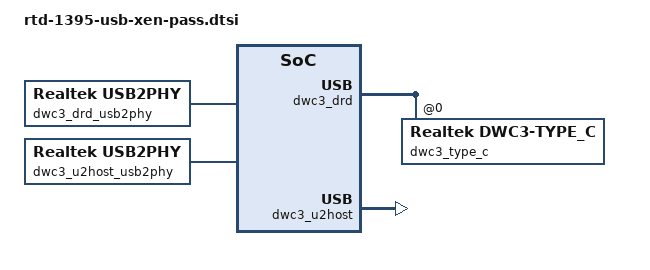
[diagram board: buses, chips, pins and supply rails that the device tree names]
/*
 * realtek,type_c-power-gpio: TypeC power, output, default low
 * realtek,u2host-power-gpio: ehci and u2host power, output, default low
 * realtek,u3host-power-gpio: 1296 u3host power, output, default low
 *
 * usb_iso_mode: ISO mode is only port suspend (Default disable)
 * usb_power_cut: Non ISO mode and power cut (Default disable power cut)
 * Note if enable ISO mode, then power_cut will not effective
 */
/ {
	/include/ "rtd-139x-usb.dtsi"
	rtk_usb_power_manager@0 {
		compatible = "Realtek,usb-manager";
		xen,passthrough;

		power_ctrl_reg {
			xen,passthrough;
		};
	};

	dwc3_drd_usb2phy: dwc3_drd_usb2phy@0 {
		compatible = "Realtek,usb2phy";
		xen,passthrough;

		phy0 {
			xen,passthrough;
		};
	};

	dwc3_drd: rtk_dwc3_drd@98013200 {
		compatible = "Realtek,dwc3";
		xen,passthrough;

		dwc3_drd@98020000 {
			compatible = "synopsys,dwc3";
			xen,passthrough;
		};

		dwc3_type_c: rtk_dwc3_drd_type_c@0 {
			compatible = "Realtek,dwc3-type_c";
			xen,passthrough;
		};
	};

	dwc3_u2host_usb2phy: dwc3_u2host_usb2phy@0 {
		compatible = "Realtek,usb2phy";
		xen,passthrough;

		phy0 {
			xen,passthrough;
		};

		phy1 {
			xen,passthrough;
		};
	};

	dwc3_u2host: rtk_dwc3_u2host@98013E00 {
		compatible = "Realtek,dwc3";
		xen,passthrough;

		dwc3_u2host@98029000 {
			compatible = "synopsys,dwc3";
			xen,passthrough;
		};
	};
};
